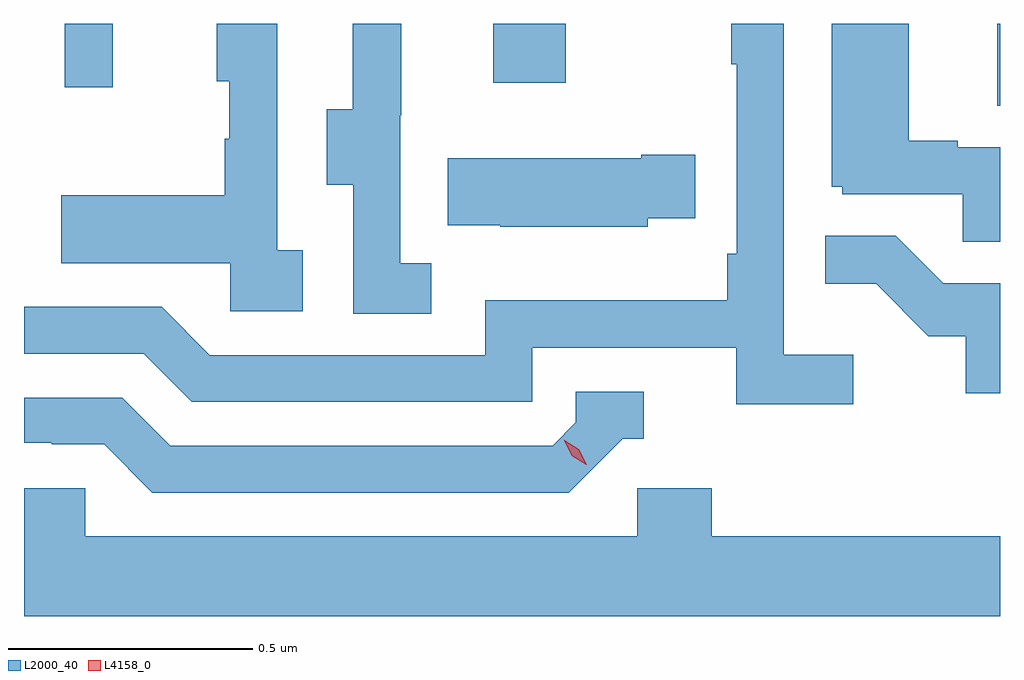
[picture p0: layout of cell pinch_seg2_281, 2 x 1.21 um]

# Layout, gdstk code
import gdstk
lib = gdstk.Library(unit=1e-6, precision=1e-09)
def R(c, l, rs):  # rectangles x0, y0, x1, y1
    for r in rs: c.add(gdstk.rectangle(r[:2], r[2:], *l))
def P(c, l, *ps):  # polygons
    for p in ps: c.add(gdstk.Polygon(p, *l))
L2000_40 = (2000, 40)
L4158_0 = (4158, 0)

pinch_seg2_281 = lib.new_cell('pinch_seg2_281')
R(pinch_seg2_281, L2000_40, [(918.041,651.346,918.047,651.514), (916.131,651.384,916.229,651.514), (917.009,651.393,917.157,651.514)])
P(pinch_seg2_281, L2000_40, [(917.746,650.836),(917.604,650.836),(917.604,651.514),(917.496,651.514),(917.496,651.431),(917.508,651.431),(917.508,651.043),(917.488,651.043),(917.488,650.947),(916.992,650.947),(916.992,650.835),(916.428,650.835),(916.329,650.934),(916.047,650.934),(916.047,650.838),(916.292,650.838),(916.391,650.739),(917.088,650.739),(917.088,650.85),(917.507,650.85),(917.507,650.734),(917.746,650.734)],
  [(918.047,651.261),(917.96,651.261),(917.96,651.274),(917.86,651.274),(917.86,651.514),(917.702,651.514),(917.702,651.18),(917.724,651.18),(917.724,651.165),(917.971,651.165),(917.971,651.067),(918.047,651.067)],
  [(916.618,651.05),(916.566,651.05),(916.566,651.514),(916.442,651.514),(916.442,651.396),(916.468,651.396),(916.468,651.278),(916.458,651.278),(916.458,651.163),(916.123,651.163),(916.123,651.023),(916.47,651.023),(916.47,650.925),(916.618,650.925)],
  [(916.882,651.023),(916.818,651.023),(916.818,651.327),(916.82,651.327),(916.82,651.514),(916.721,651.514),(916.721,651.339),(916.667,651.339),(916.667,651.184),(916.722,651.184),(916.722,650.92),(916.882,650.92)],
  [(917.325,651.116),(917.423,651.116),(917.423,651.246),(917.312,651.246),(917.312,651.238),(916.915,651.238),(916.915,651.101),(917.023,651.101),(917.023,651.098),(917.325,651.098)],
  [(918.047,650.982),(917.931,650.982),(917.833,651.08),(917.689,651.08),(917.689,650.981),(917.793,650.981),(917.9,650.874),(917.977,650.874),(917.977,650.757),(918.047,650.757)],
  [(917.274,650.664),(917.317,650.664),(917.317,650.76),(917.178,650.76),(917.178,650.697),(917.13,650.649),(916.347,650.649),(916.248,650.748),(916.047,650.748),(916.047,650.655),(916.104,650.655),(916.104,650.652),(916.211,650.652),(916.31,650.553),(917.163,650.553)],
  [(918.047,650.464),(917.456,650.464),(917.456,650.562),(917.304,650.562),(917.304,650.464),(916.173,650.464),(916.173,650.562),(916.047,650.562),(916.047,650.3),(918.047,650.3)])
P(pinch_seg2_281, L4158_0, [(917.199,650.61),(917.169,650.629),(917.153,650.662),(917.153,650.662),(917.153,650.662),(917.184,650.642),(917.2,650.61),(917.2,650.61)])

lib.write_gds('pinch_seg2_281.gds')
